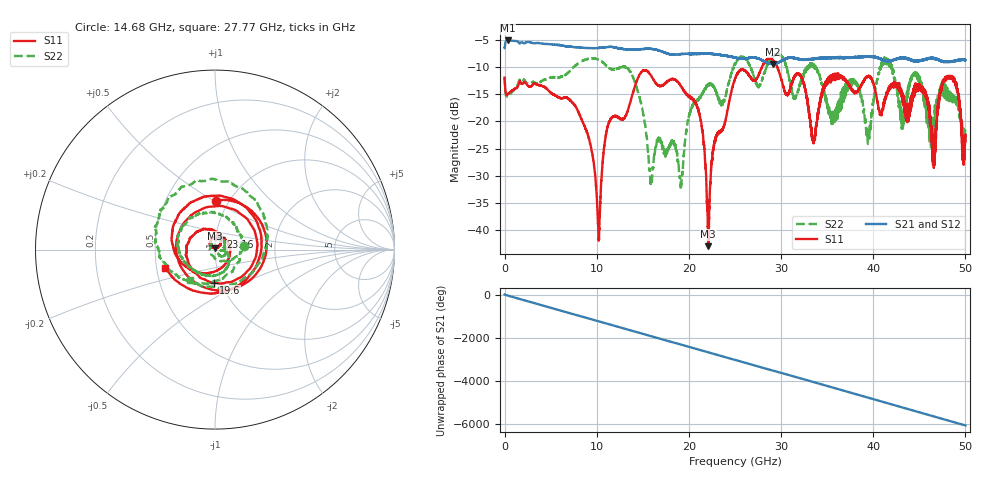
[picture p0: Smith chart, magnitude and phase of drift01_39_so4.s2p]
!Created with skrf (http://scikit-rf.org).
# Hz S RI R 50.0
!freq ReS11 ImS11 ReS21 ImS21 ReS12 ImS12 ReS22 ImS22
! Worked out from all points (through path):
!   10001 points, 300 kHz to 50 GHz, reference 50 ohm
!   highest |S21| = -5.05 dB at 325.3 MHz (marker M1); lowest = -9.4 dB at 29.08 GHz (marker M2)
!   group delay of S21, straight-line fit = 336 ps
!   lowest |S11| = -43.0 dB at 22.09 GHz (marker M3), VSWR 1.01, Z = 49.9 + j0.703 ohm
!   |S11| at or under -10 dB: start of sweep to 27.92 GHz; 29.59 GHz to end of sweep
!   |S22| runs from -32.2 to -7.5 dB; largest |S21 - S12| = 0.012
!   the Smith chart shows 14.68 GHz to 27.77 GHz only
!   S11 on the Smith chart (normalised r, x): 14.68 GHz: 0.87, +0.51; 19.6 GHz: 0.92, -0.35; 23.16 GHz: 1.06, +0.15; 27.77 GHz: 0.55, -0.12
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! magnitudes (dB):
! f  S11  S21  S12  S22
! 300 kHz  -12.0  -6.5  -6.5  -11.7
! 325.3 MHz  -15.0  -5.1  -5.1  -15.3
! 8.335 GHz  -19.6  -6.4  -6.4  -8.9
! 10.21 GHz  -41.6  -6.4  -6.4  -8.6
! 11.24 GHz  -20.6  -6.3  -6.2  -9.9
! 14.68 GHz  -11.3  -6.7  -6.7  -15.9
! 15.88 GHz  -11.5  -6.6  -6.6  -31.1
! 16.67 GHz  -13.4  -6.9  -6.9  -23.2
! 19.6 GHz  -14.7  -7.5  -7.5  -23.4
! 21.22 GHz  -19.3  -7.5  -7.5  -15.6
! 22.09 GHz  -43.0  -7.5  -7.5  -13.4
! 23.16 GHz  -22.2  -7.7  -7.7  -15.7
! 25 GHz  -12.1  -8.2  -8.3  -9.5
! 27.77 GHz  -10.6  -8.5  -8.6  -13.1
! 29.08 GHz  -8.6  -9.4  -9.4  -8.0
! 33.34 GHz  -22.8  -8.5  -8.5  -9.6
! 39.47 GHz  -11.7  -8.1  -8.0  -22.3
! 41.67 GHz  -13.9  -8.8  -8.8  -9.0
! 45.35 GHz  -13.6  -8.7  -8.7  -14.2
! 46.56 GHz  -26.1  -8.4  -8.3  -21.1
! 48.53 GHz  -12.0  -9.0  -9.0  -15.1
! 50 GHz  -22.8  -8.7  -8.6  -23.2
